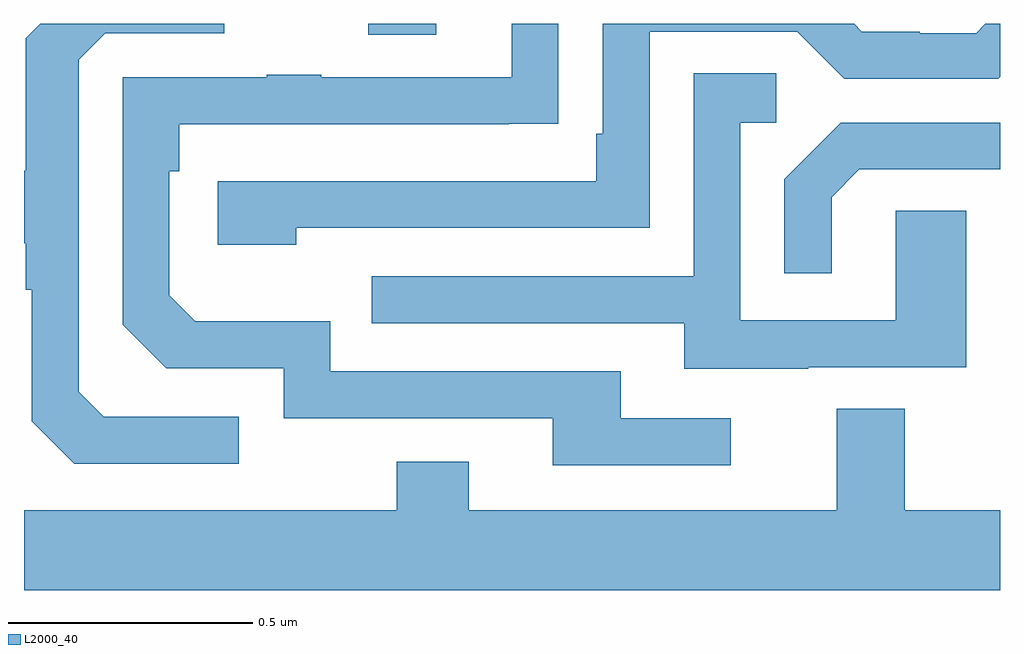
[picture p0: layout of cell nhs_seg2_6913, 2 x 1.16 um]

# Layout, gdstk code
import gdstk
lib = gdstk.Library(unit=1e-6, precision=1e-09)
def R(c, l, rs):  # rectangles x0, y0, x1, y1
    for r in rs: c.add(gdstk.rectangle(r[:2], r[2:], *l))
def P(c, l, *ps):  # polygons
    for p in ps: c.add(gdstk.Polygon(p, *l))
L2000_40 = (2000, 40)

nhs_seg2_6913 = lib.new_cell('nhs_seg2_6913')
R(nhs_seg2_6913, L2000_40, [(197.705,644.778,197.845,644.8)])
P(nhs_seg2_6913, L2000_40, [(198.448,643.992),(198.223,643.992),(198.223,644.088),(197.628,644.088),(197.628,644.191),(197.351,644.191),(197.298,644.244),(197.298,644.498),(197.318,644.498),(197.318,644.595),(197.993,644.595),(197.993,644.596),(198.095,644.596),(198.095,644.8),(197.999,644.8),(197.999,644.691),(197.609,644.691),(197.609,644.696),(197.497,644.696),(197.497,644.691),(197.202,644.691),(197.202,644.184),(197.292,644.094),(197.532,644.094),(197.532,643.992),(198.083,643.992),(198.083,643.896),(198.448,643.896)],
  [(197.44,643.995),(197.163,643.995),(197.112,644.046),(197.112,644.727),(197.166,644.781),(197.41,644.781),(197.41,644.8),(197.033,644.8),(197.004,644.771),(197.004,644.499),(197,644.499),(197,644.351),(197.004,644.351),(197.004,644.255),(197.016,644.255),(197.016,643.986),(197.103,643.899),(197.44,643.899)],
  [(197.558,644.382),(198.282,644.382),(198.282,644.784),(198.585,644.784),(198.681,644.688),(198.996,644.688),(199,644.692),(199,644.8),(198.97,644.8),(198.951,644.781),(198.836,644.781),(198.836,644.784),(198.717,644.784),(198.701,644.8),(198.186,644.8),(198.186,644.575),(198.173,644.575),(198.173,644.478),(197.397,644.478),(197.397,644.348),(197.558,644.348)],
  [(198.607,644.097),(198.931,644.097),(198.931,644.417),(198.786,644.417),(198.786,644.193),(198.468,644.193),(198.468,644.598),(198.541,644.598),(198.541,644.699),(198.372,644.699),(198.372,644.283),(197.713,644.283),(197.713,644.187),(198.353,644.187),(198.353,644.093),(198.607,644.093)],
  [(198.655,644.445),(198.712,644.502),(199,644.502),(199,644.598),(198.674,644.598),(198.558,644.482),(198.558,644.289),(198.655,644.289)],
  [(199,643.804),(198.805,643.804),(198.805,644.012),(198.665,644.012),(198.665,643.804),(197.911,643.804),(197.911,643.903),(197.764,643.903),(197.764,643.804),(197,643.804),(197,643.64),(199,643.64)])

lib.write_gds('nhs_seg2_6913.gds')
